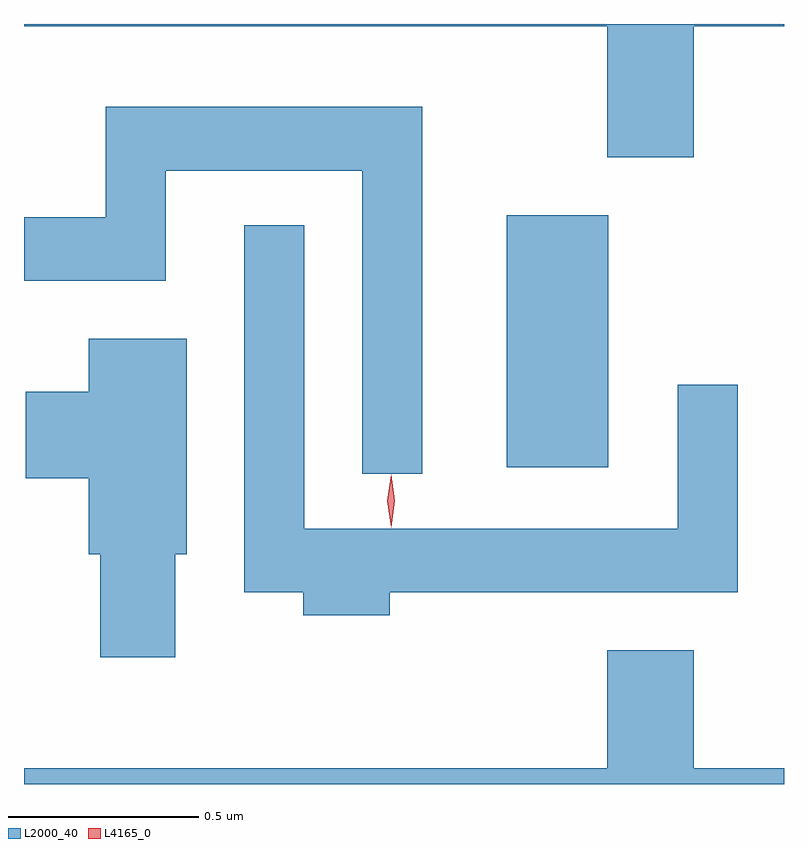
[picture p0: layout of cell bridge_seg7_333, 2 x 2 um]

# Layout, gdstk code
import gdstk
lib = gdstk.Library(unit=1e-6, precision=1e-09)
def R(c, l, rs):  # rectangles x0, y0, x1, y1
    for r in rs: c.add(gdstk.rectangle(r[:2], r[2:], *l))
def P(c, l, *ps):  # polygons
    for p in ps: c.add(gdstk.Polygon(p, *l))
L2000_40 = (2000, 40)
L4165_0 = (4165, 0)

bridge_seg7_333 = lib.new_cell('bridge_seg7_333')
R(bridge_seg7_333, L2000_40, [(1180.586,1766.436,1180.854,1767.099)])
P(bridge_seg7_333, L2000_40, [(1181.079,1767.596),(1181.316,1767.596),(1181.316,1767.602),(1179.316,1767.602),(1179.316,1767.596),(1180.851,1767.596),(1180.851,1767.251),(1181.079,1767.251)],
  [(1180.364,1767.384),(1179.531,1767.384),(1179.531,1767.094),(1179.316,1767.094),(1179.316,1766.926),(1179.689,1766.926),(1179.689,1767.216),(1180.206,1767.216),(1180.206,1766.418),(1180.364,1766.418)],
  [(1180.279,1766.106),(1181.194,1766.106),(1181.194,1766.653),(1181.036,1766.653),(1181.036,1766.274),(1180.054,1766.274),(1180.054,1767.073),(1179.896,1767.073),(1179.896,1766.106),(1180.051,1766.106),(1180.051,1766.046),(1180.279,1766.046)],
  [(1179.714,1766.206),(1179.744,1766.206),(1179.744,1766.774),(1179.486,1766.774),(1179.486,1766.634),(1179.321,1766.634),(1179.321,1766.406),(1179.486,1766.406),(1179.486,1766.206),(1179.516,1766.206),(1179.516,1765.936),(1179.714,1765.936)],
  [(1181.316,1765.644),(1181.079,1765.644),(1181.079,1765.954),(1180.851,1765.954),(1180.851,1765.644),(1179.316,1765.644),(1179.316,1765.602),(1181.316,1765.602)])
P(bridge_seg7_333, L4165_0, [(1180.282,1766.277),(1180.282,1766.278),(1180.272,1766.347),(1180.282,1766.416),(1180.282,1766.416),(1180.283,1766.416),(1180.292,1766.347),(1180.283,1766.278)])

lib.write_gds('bridge_seg7_333.gds')
